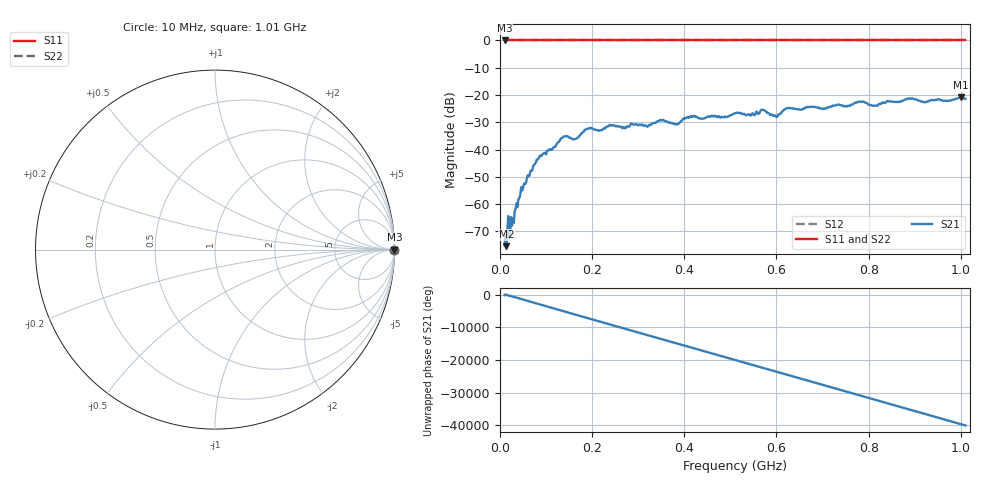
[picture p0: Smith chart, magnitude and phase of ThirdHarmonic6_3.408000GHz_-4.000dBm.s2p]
! 8/17/2025 10:54:07 AM
! C:\ANRITSUVNA\TEMP\TEMP.S2P
! CHANNEL.1
! TR.MEASUREMENT
! RAW.DATA
! RF.CORRECTION.OFF
! AVERAGING.OFF
! IF.BANDWIDTH: 5KHZ
! SWEEPTYPE:  FREQ.SWEEP(Linear)
! Reference Plane Port Info
! PORT:  PORT1  PORT2
! DISTANCE:  0  m  0  m
! TIME:  0  s  0  s
! PHASE.OFFSET:  0  deg.  0  deg.
! LOSS:  0  dB  0  dB
! REF.LOSS:  0  dB  0  dB
! REF.FREQ:  0  Hz  0  Hz
! Power Info
! POWER:  -20  dBm  -20  dBm
! EFF.POWER:  -20  dBm  -20  dBm
! SOURCE.ATTEN:  0  dB  0  dB
! TEST.ATTEN:  0  dB  0  dB
# GHZ S RI R 50.0
! FREQ.GHZ  S11RE  S11IM  S21RE  S21IM  S12RE  S12IM  S22RE  S22IM
!; PortSelection: Port_12
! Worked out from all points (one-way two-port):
!   501 points, 10 MHz to 1.01 GHz, reference 50 ohm
!   highest |S21| = -20.78 dB at 1 GHz (marker M1); lowest = -75.4 dB at 14 MHz (marker M2)
!   lowest |S11| = 0.0 dB at 10 MHz (marker M3)
!   |S11| at or under -10 dB: nowhere
!   |S22| runs from 0.0 to 0.0 dB; largest |S21 - S12| = 1.1
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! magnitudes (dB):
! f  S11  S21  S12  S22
! 10 MHz  0.0  -75.1  0.0  0.0
! 14 MHz  0.0  -75.4  0.0  0.0
! 24 MHz  0.0  -64.7  0.0  0.0
! 50 MHz  0.0  -54.1  0.0  0.0
! 84 MHz  0.0  -43.2  0.0  0.0
! 136 MHz  0.0  -35.6  0.0  0.0
! 162 MHz  0.0  -36.2  0.0  0.0
! 178 MHz  0.0  -33.9  0.0  0.0
! 194 MHz  0.0  -32.1  0.0  0.0
! 318 MHz  0.0  -31.3  0.0  0.0
! 344 MHz  0.0  -29.6  0.0  0.0
! 382 MHz  0.0  -30.7  0.0  0.0
! 418 MHz  0.0  -28.0  0.0  0.0
! 510 MHz  0.0  -26.7  0.0  0.0
! 570 MHz  0.0  -25.4  0.0  0.0
! 598 MHz  0.0  -27.7  0.0  0.0
! 622 MHz  0.0  -24.9  0.0  0.0
! 678 MHz  0.0  -24.4  0.0  0.0
! 814 MHz  0.0  -23.8  0.0  0.0
! 844 MHz  0.0  -22.4  0.0  0.0
! 1 GHz  0.0  -20.8  0.0  0.0
! 1.01 GHz  0.0  -21.4  0.0  0.0
